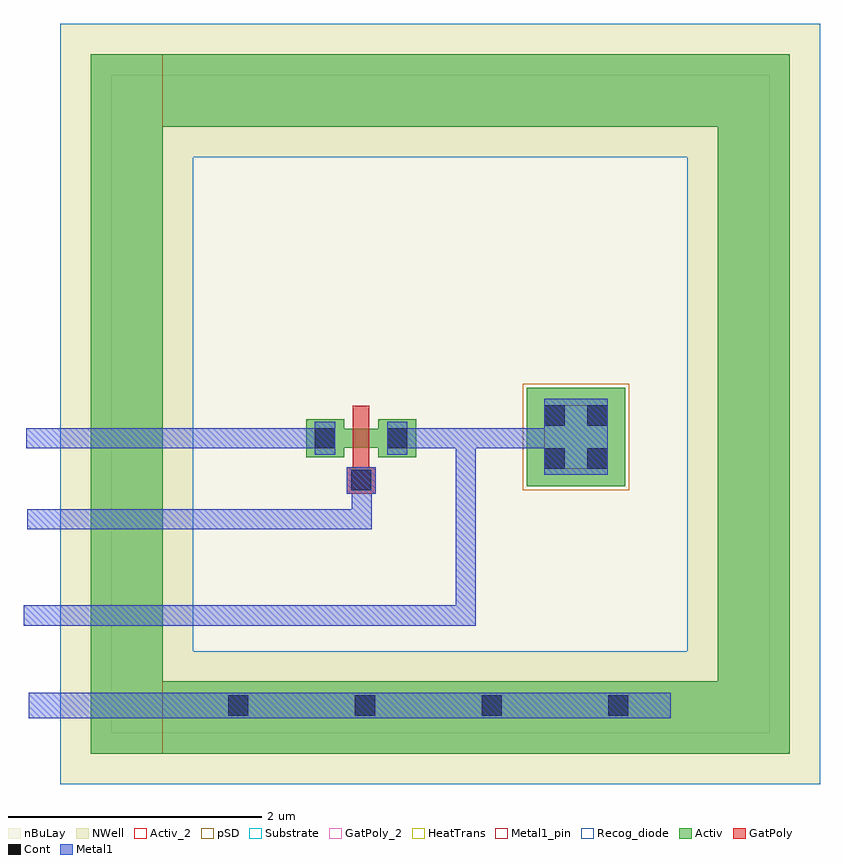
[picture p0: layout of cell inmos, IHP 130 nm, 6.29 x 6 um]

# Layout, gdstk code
import gdstk
lib = gdstk.Library(unit=1e-6, precision=1e-09)
def R(c, l, rs):  # rectangles x0, y0, x1, y1
    for r in rs: c.add(gdstk.rectangle(r[:2], r[2:], *l))
def A(c, l, x, y, w, h, nx, ny, dx, dy):  # array of equal rectangles
    R(c, l, [(x+i*dx, y+j*dy, x+i*dx+w, y+j*dy+h) for i in range(nx) for j in range(ny)])
def P(c, l, *ps):  # polygons
    for p in ps: c.add(gdstk.Polygon(p, *l))
Activ = (1, 0)
Activ_2 = (1, 2)
GatPoly = (5, 0)
GatPoly_2 = (5, 2)
Cont = (6, 0)
Metal1 = (8, 0)
Metal1_pin = (8, 2)
pSD = (14, 0)
NWell = (31, 0)
nBuLay = (32, 0)
Substrate = (40, 0)
HeatTrans = (51, 0)
Recog_diode = (99, 31)

nmos = lib.new_cell('nmos')
R(nmos, Activ, [(0,0,0.3,0.3), (0.57,0,0.87,0.3), (0,0.075,0.87,0.225)])
R(nmos, GatPoly, [(0.37,-0.105,0.5,0.405)])
R(nmos, GatPoly_2, [(0.37,-0.105,0.5,0.405)])
R(nmos, Cont, [(0.07,0.07,0.23,0.23), (0.64,0.07,0.8,0.23)])
R(nmos, Metal1, [(0.07,0.02,0.23,0.28), (0.64,0.02,0.8,0.28)])
R(nmos, Metal1_pin, [(0.07,0.02,0.23,0.28), (0.64,0.02,0.8,0.28)])
R(nmos, HeatTrans, [(0.37,-0.105,0.5,0.405)])
nmos.add(gdstk.Label('nmos', (0.435,0.15), layer=63, texttype=0))
nmos.add(gdstk.Label('nmos', (0.435,0.15), layer=51, texttype=0))

isolbox_1 = lib.new_cell('isolbox$1')
P(isolbox_1, Activ, [(-0.81,-0.81),(-0.81,-0.24),(4.14,-0.24),(4.14,4.14),(-0.24,4.14),(-0.24,-0.24),(-0.81,-0.24),(-0.81,4.71),(4.71,4.71),(4.71,-0.81)])
R(isolbox_1, Activ_2, [(-0.81,-0.81,-0.24,4.71)])
P(isolbox_1, NWell, [(-1.05,-1.05),(-1.05,0),(3.9,0),(3.9,3.9),(0,3.9),(0,0),(-1.05,0),(-1.05,4.95),(4.95,4.95),(4.95,-1.05)])
R(isolbox_1, nBuLay, [(-0.65,-0.65,4.55,4.55)])
P(isolbox_1, Recog_diode, [(-1.05,-1.05),(-1.05,0),(3.9,0),(3.9,3.9),(0,3.9),(0,0),(-1.05,0),(-1.05,4.95),(4.95,4.95),(4.95,-1.05)])
isolbox_1.add(gdstk.Label('isolbox', (0,-0.525), layer=63, texttype=0))

ptap1 = lib.new_cell('ptap1')
R(ptap1, Activ, [(0,0,0.78,0.78)])
R(ptap1, Cont, [(0.14,0.14,0.3,0.3), (0.48,0.14,0.64,0.3), (0.14,0.48,0.3,0.64), (0.48,0.48,0.64,0.64)])
R(ptap1, Metal1, [(0.14,0.09,0.64,0.69), (0.14,0.14,0.64,0.64)])
R(ptap1, Metal1_pin, [(0.14,0.14,0.64,0.64)])
R(ptap1, pSD, [(-0.03,-0.03,0.81,0.81)])
R(ptap1, Substrate, [(0,0,0.78,0.78)])
ptap1.add(gdstk.Label('sub!', (0.39,0.01), layer=63, texttype=0))
ptap1.add(gdstk.Label('sub!', (0.39,0.01), layer=40, texttype=0))

inmos = lib.new_cell('inmos')
R(inmos, GatPoly, [(3.71,1.51,3.89,1.72), (3.76,1.51,3.94,1.72)])
A(inmos, Cont, 2.775, -0.24, 0.16, 0.16, 4, 1, 1, 0)
R(inmos, Cont, [(3.745,1.54,3.905,1.7)])
R(inmos, Metal1, [(3.71,1.51,3.94,1.72)])
inmos.add(gdstk.FlexPath([(4.09,1.95),(5.59,1.95)], 0.16, ends="flush", simple_path=True, layer=8, datatype=0))  # Metal1
inmos.add(gdstk.FlexPath([(3.56,1.95),(1.18,1.95)], 0.16, ends="flush", simple_path=True, layer=8, datatype=0))  # Metal1
inmos.add(gdstk.FlexPath([(4.65,1.96),(4.65,0.55),(1.16,0.55)], 0.16, ends="flush", simple_path=True, layer=8, datatype=0))  # Metal1
inmos.add(gdstk.FlexPath([(3.83,1.71),(3.83,1.31),(1.19,1.31)], 0.16, ends="flush", simple_path=True, layer=8, datatype=0))  # Metal1
inmos.add(gdstk.FlexPath([(6.27,-0.16),(1.2,-0.16)], 0.2, ends="flush", simple_path=True, layer=8, datatype=0))  # Metal1
inmos.add(gdstk.Reference(nmos, (3.39,1.8)))
inmos.add(gdstk.Reference(isolbox_1, (2.5,0.27)))
inmos.add(gdstk.Reference(ptap1, (5.13,1.57)))

lib.write_gds('inmos.gds')
